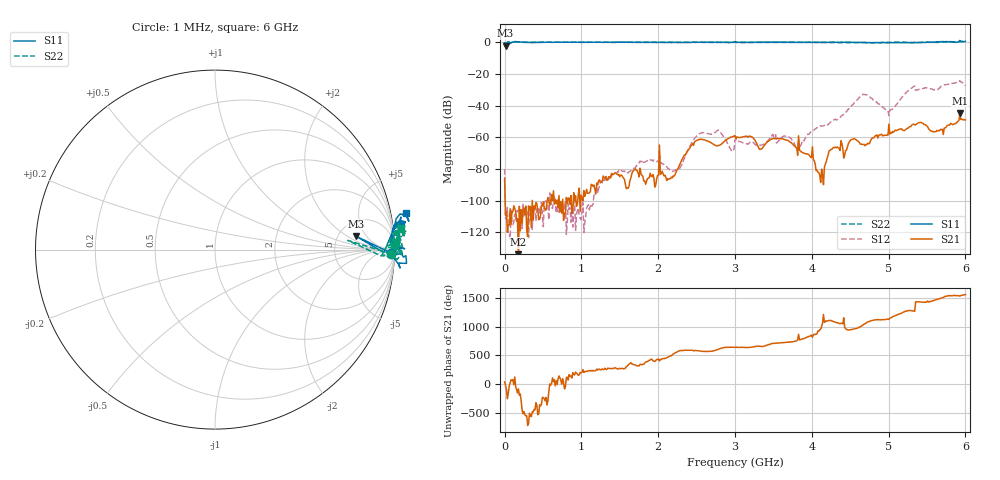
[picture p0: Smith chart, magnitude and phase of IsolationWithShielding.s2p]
# GHZ S RI R 50
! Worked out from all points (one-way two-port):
!   501 points, 1 MHz to 6 GHz, reference 50 ohm
!   highest |S21| = -44.63 dB at 5.928 GHz (marker M1); lowest = -138.1 dB at 181 MHz (marker M2)
!   lowest |S11| = -2.1 dB at 13 MHz (marker M3), VSWR 8.42, Z = 362 + j144 ohm
!   |S11| at or under -10 dB: nowhere
!   |S22| runs from -2.6 to 0.6 dB; largest |S21 - S12| = 0.06
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0.001  0.9812 -0.0193  3.91e-05 2.99e-05  -9.15e-05 -4.34e-05  0.9792 -0.0224
0.012998  0.784 0.0756  3.2e-06 -1.33e-06  -6.59e-07 -2.62e-06  0.7399 0.0513
0.18097  1.039 -0.00404  1.33e-08 -1.23e-07  -4.89e-06 -1.63e-06  1.027 -0.00954
1.008832  1.015 0.0309  -1.05e-05 -4.99e-06  -2.44e-06 -3.45e-06  1.016 0.0134
2.004666  1.009 0.0406  1.33e-05 6.16e-05  -0.000131 -0.000103  1 0.0392
2.268622  1.002 0.034  -9.84e-05 -6.82e-05  9.04e-06 0.000103  1.013 0.0463
2.568572  1.018 0.0393  -0.000745 -0.00046  -0.000898 -0.00109  1.016 0.0423
2.784536  1.014 0.0317  -0.000214 -0.000515  0.000651 -0.00155  1.003 0.0385
2.952508  1.009 0.0168  0.000224 -0.00101  0.000374 -9.1e-05  1.005 0.0121
3.0005  1.057 0.00498  0.000215 -0.00112  0.000612 -0.00056  1.032 0.0614
3.336444  1.016 0.0375  0.000193 -0.000381  -0.000496 0.000284  1.002 0.0233
3.504416  1.014 0.0372  0.000912 -0.00018  -0.000647 -0.000869  1.006 0.0184
3.792368  1.013 0.0402  0.00042 0.000254  0.000474 0.000137  1.005 0.0447
4.008332  1.007 0.0236  -4.9e-05 0.000502  -0.00141 -0.000752  1.016 -0.0154
4.128312  1.003 0.0304  3.28e-05 -9.4e-05  -6.8e-05 -0.00226  1.004 -0.00524
4.26029  1.01 0.0258  0.000395 0.000136  0.00307 -0.000292  0.9996 0.00152
4.668222  1.003 0.0429  0.0004 -0.000447  -0.0226 -0.00146  0.9893 0.0183
5.004166  0.9716 0.0472  0.00178 0.00194  0.00367 0.00325  1.005 0.03
5.316114  0.9955 0.0954  -0.00249 -0.000697  -0.0137 -0.0359  0.9666 0.0127
5.688052  1.058 0.1315  0.000892 0.00152  0.0234 0.0348  1.047 0.0926
5.928012  1.122 0.2888  -0.000399 0.00585  -0.0591 0.0197  1.05 0.1032
6  1.063 0.2031  -0.00183 0.00304  -0.0424 0.00596  1.037 0.12
